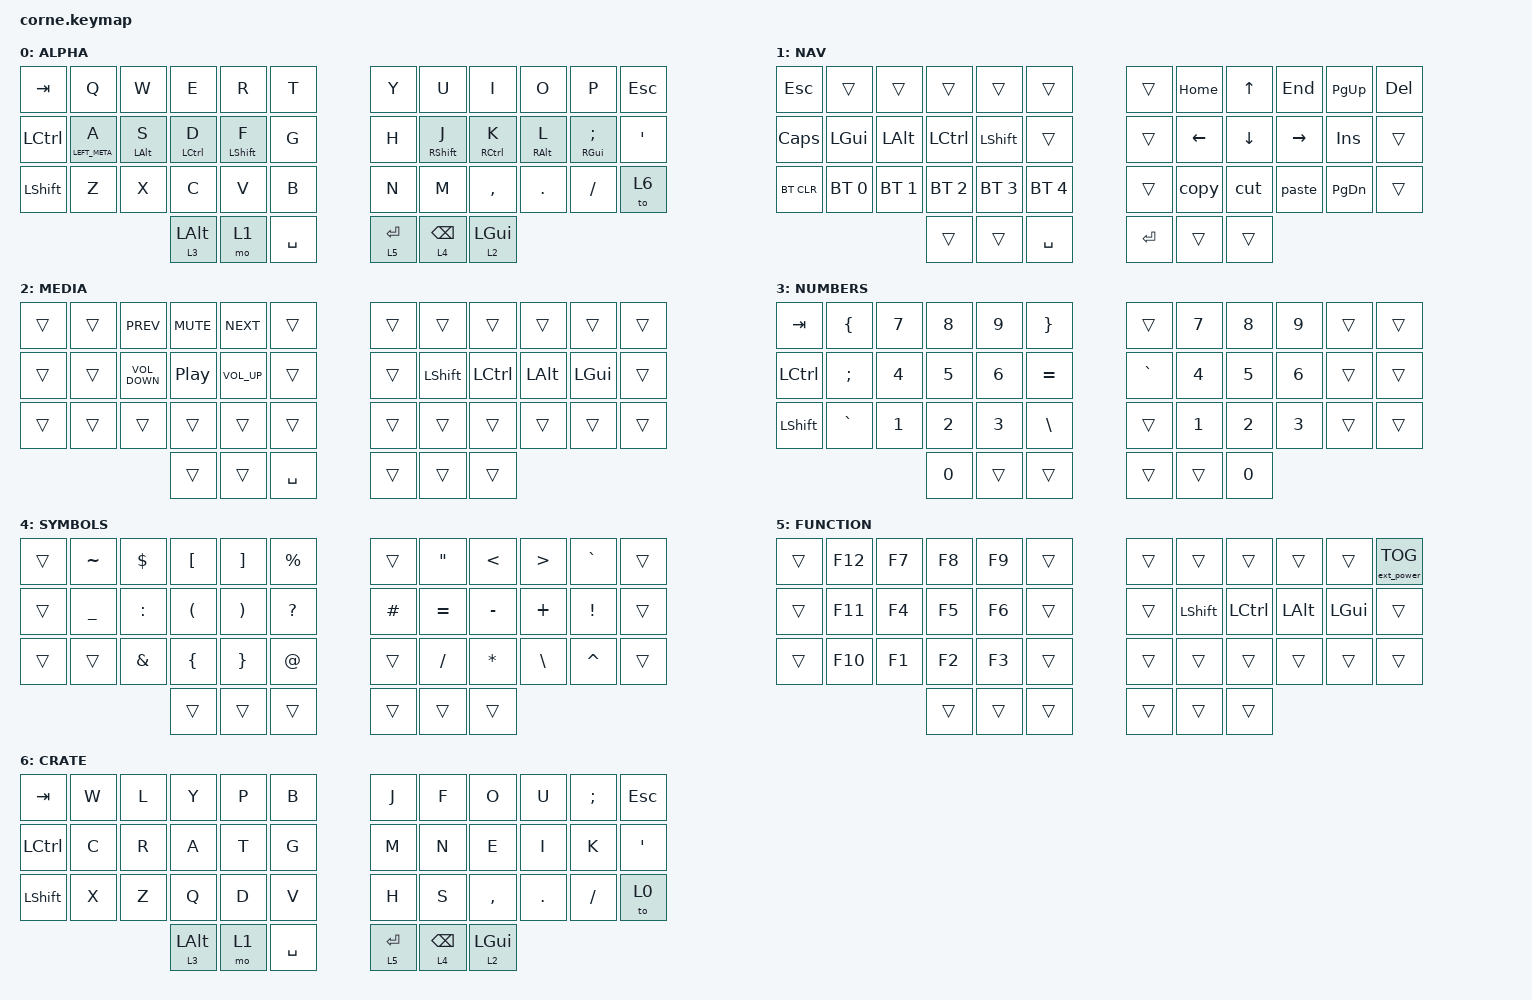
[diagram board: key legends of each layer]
/*
 * Copyright (c) 2020 The ZMK Contributors
 *
 * SPDX-License-Identifier: MIT
 */

#include <behaviors.dtsi>
#include <dt-bindings/zmk/bt.h>
#include <dt-bindings/zmk/ext_power.h>
#include <dt-bindings/zmk/keys.h>

/ {
    behaviors {
        hml: homerow_mods_left {
            compatible = "zmk,behavior-hold-tap";
            label = "HOMEROW_MODS_LEFT_HAND";
            bindings = <&kp>, <&kp>;

            #binding-cells = <2>;
            tapping-term-ms = <280>;
            hold-trigger-key-positions = <6 18 30 39 40 7 8 9 10 11 19 20 21 22 23 31 32 33 34 35 41>;
            quick-tap-ms = <175>;
            require-prior-idle-ms = <150>;
            flavor = "tap-preferred";
        };

        hmr: homerow_mods_right {
            compatible = "zmk,behavior-hold-tap";
            label = "HOMEROW_MODS_RIGHT_HAND";
            bindings = <&kp>, <&kp>;

            #binding-cells = <2>;
            tapping-term-ms = <280>;
            hold-trigger-key-positions = <0 1 2 3 4 5 12 13 14 15 16 17 24 25 26 27 28 29 36 37 38>;
            quick-tap-ms = <175>;
            require-prior-idle-ms = <150>;
            flavor = "tap-preferred";
        };
    };

    combos {
        compatible = "zmk,combos";

        Copy {
            bindings = <&kp LC(INSERT)>;
            key-positions = <3 2 4>;
            layers = <0 6>;
        };

        Paste {
            bindings = <&kp LS(INS)>;
            key-positions = <14 15 16>;
            layers = <0 6>;
        };

        Cut {
            bindings = <&kp LS(DELETE)>;
            key-positions = <26 28 27>;
            layers = <0 6>;
        };

        prog-parenthesis {
            bindings = <&par>;
            key-positions = <7 8>;
            layers = <0 6>;
        };

        prog-braces {
            bindings = <&brackets>;
            key-positions = <20 19>;
            layers = <0 6>;
        };

        prog-less {
            bindings = <&kp LT>;
            key-positions = <32 19>;
            layers = <0 6>;
        };

        prog-return {
            bindings = <&kp COLON>;
            key-positions = <19 21 20>;
            layers = <0 6>;
        };

        prog-equals {
            bindings = <&kp EQUAL>;
            key-positions = <7 8 9>;
            layers = <0 6>;
        };

        enie {
            bindings = <&kp RA(N)>;
            key-positions = <36 19>;
            layers = <0 6>;
        };

        enie-mac {
            bindings = <&enie_mac>;
            key-positions = <36 12 19>;
            layers = <0 6>;
        };

        huh {
            bindings = <&kp QUESTION>;
            key-positions = <14 15 4>;
        };

        chin {
            bindings = <&kp EXCLAMATION>;
            key-positions = <25 26 3>;
        };

        minus {
            bindings = <&kp MINUS>;
            key-positions = <19 18>;
        };

        under {
            bindings = <&kp UNDER>;
            key-positions = <31 30>;
        };

        prog-bracket {
            bindings = <&kp LBKT>;
            key-positions = <8 19>;
        };
    };

    macros {
        par: WIN_DESK_LEFT {
            compatible = "zmk,behavior-macro";
            #binding-cells = <0>;
            bindings = <&kp LEFT_PARENTHESIS &kp RIGHT_PARENTHESIS &kp LEFT>;
            label = "WIN_DESK_LEFT";
        };

        brackets: WIN_DESK_RIGHT {
            compatible = "zmk,behavior-macro";
            #binding-cells = <0>;
            bindings = <&kp LEFT_BRACE &kp RIGHT_BRACE &kp LEFT>;
            label = "WIN_DESK_RIGHT";
        };

        cut: cut {
            compatible = "zmk,behavior-macro";
            #binding-cells = <0>;
            bindings = <&kp LS(DEL)>;
            label = "CUT";
        };

        copy: copy {
            compatible = "zmk,behavior-macro";
            #binding-cells = <0>;
            bindings = <&kp LC(INS)>;
            label = "COPY";
        };

        paste: paste {
            compatible = "zmk,behavior-macro";
            #binding-cells = <0>;
            bindings = <&kp LS(INS)>;
            label = "PASTE";
        };

        enie_mac: enie_mac {
            compatible = "zmk,behavior-macro";
            #binding-cells = <0>;
            bindings = <&kp LA(N) &kp N &kp N>;
            label = "ENIE_MAC";
        };
    };

    keymap {
        compatible = "zmk,keymap";

        alpha {
            display-name = "ALPHA";

            // -----------------------------------------------------------------------------------------
            // |  TAB |  Q  |  W  |  E  |  R  |  T  |   |  Y  |  U   |  I  |  O  |  P  | BKSP |
            // | CTRL |  A  |  S  |  D  |  F  |  G  |   |  H  |  J   |  K  |  L  |  ;  |  '   |
            // | SHFT |  Z  |  X  |  C  |  V  |  B  |   |  N  |  M   |  ,  |  .  |  /  | ESC  |
            //                    | GUI | LWR | SPC |   | ENT | RSE  | ALT |

            bindings = <
&kp TAB    &kp Q             &kp W        &kp E                &kp R              &kp T        &kp Y        &kp U               &kp I                 &kp O             &kp P                     &kp ESCAPE
&kp LCTRL  &hml LEFT_META A  &hml LALT S  &hml LEFT_CONTROL D  &hml LEFT_SHIFT F  &kp G        &kp H        &hmr RIGHT_SHIFT J  &hmr RIGHT_CONTROL K  &hmr RIGHT_ALT L  &hmr RIGHT_GUI SEMICOLON  &kp SQT
&kp LSHFT  &kp Z             &kp X        &kp C                &kp V              &kp B        &kp N        &kp M               &kp COMMA             &kp DOT           &kp FSLH                  &to 6
                                          &lt 3 LEFT_ALT       &mo 1              &kp SPACE    &lt 5 ENTER  &lt 4 BACKSPACE     &lt 2 LEFT_GUI
            >;
        };

        nav {
            display-name = "NAV";

            // -----------------------------------------------------------------------------------------
            // |  TAB |  1  |  2  |  3  |  4  |  5  |   |  6  |  7  |  8  |  9  |  0  | BKSP |
            // | BTCLR| BT1 | BT2 | BT3 | BT4 | BT5 |   | LFT | DWN |  UP | RGT |     |      |
            // | SHFT |     |     |     |     |     |   |     |     |     |     |     |      |
            //                    | GUI |     | SPC |   | ENT |     | ALT |

            bindings = <
&kp ESCAPE  &trans        &trans        &trans        &trans          &trans          &trans   &kp HOME        &kp UP    &kp END    &kp PAGE_UP    &kp DELETE
&kp CAPS    &kp LEFT_GUI  &kp LEFT_ALT  &kp LCTRL     &kp LEFT_SHIFT  &trans          &trans   &kp LEFT_ARROW  &kp DOWN  &kp RIGHT  &kp INS        &trans
&bt BT_CLR  &bt BT_SEL 0  &bt BT_SEL 1  &bt BT_SEL 2  &bt BT_SEL 3    &bt BT_SEL 4    &trans   &copy           &cut      &paste     &kp PAGE_DOWN  &trans
                                        &trans        &trans          &kp SPACE       &kp RET  &trans          &trans
            >;
        };

        media {
            display-name = "MEDIA";

            // -----------------------------------------------------------------------------------------
            // |  TAB |  !  |  @  |  #  |  $  |  %  |   |  ^  |  &  |  *  |  (  |  )  | BKSP |
            // | CTRL |     |     |     |     |     |   |  -  |  =  |  [  |  ]  |  \  |  `   |
            // | SHFT |     |     |     |     |     |   |  _  |  +  |  {  |  }  | "|" |  ~   |
            //                    | GUI |     | SPC |   | ENT |     | ALT |

            bindings = <
&trans  &trans  &kp C_PREV         &kp C_MUTE        &kp C_NEXT       &trans       &trans  &trans          &trans            &trans        &trans        &trans
&trans  &trans  &kp C_VOLUME_DOWN  &kp C_PLAY_PAUSE  &kp C_VOLUME_UP  &trans       &trans  &kp LEFT_SHIFT  &kp LEFT_CONTROL  &kp LEFT_ALT  &kp LEFT_GUI  &trans
&trans  &trans  &trans             &trans            &trans           &trans       &trans  &trans          &trans            &trans        &trans        &trans
                                   &trans            &trans           &kp SPACE    &trans  &trans          &trans
            >;
        };

        num {
            display-name = "NUMBERS";
            bindings = <
&kp TAB    &kp LEFT_BRACE  &kp N7        &kp N8        &kp N9        &kp RIGHT_BRACE    &trans     &kp N7        &kp N8        &kp N9        &trans  &trans
&kp LCTRL  &kp SEMICOLON   &kp NUMBER_4  &kp N5        &kp NUMBER_6  &kp EQUAL          &kp GRAVE  &kp NUMBER_4  &kp N5        &kp NUMBER_6  &trans  &trans
&kp LSHFT  &kp GRAVE       &kp NUMBER_1  &kp NUMBER_2  &kp NUMBER_3  &kp BACKSLASH      &trans     &kp NUMBER_1  &kp NUMBER_2  &kp NUMBER_3  &trans  &trans
                                         &kp N0        &trans        &trans             &trans     &trans        &kp N0
            >;
        };

        sym {
            display-name = "SYMBOLS";
            bindings = <
&trans  &kp TILDE  &kp DOLLAR     &kp LEFT_BRACKET      &kp RIGHT_BRACKET      &kp PERCENT     &trans    &kp DOUBLE_QUOTES  &kp LESS_THAN  &kp GREATER_THAN  &kp GRAVE        &trans
&trans  &kp UNDER  &kp COLON      &kp LEFT_PARENTHESIS  &kp RIGHT_PARENTHESIS  &kp QUESTION    &kp HASH  &kp EQUAL          &kp MINUS      &kp PLUS          &kp EXCLAMATION  &trans
&trans  &trans     &kp AMPERSAND  &kp LEFT_BRACE        &kp RIGHT_BRACE        &kp AT_SIGN     &trans    &kp SLASH          &kp ASTERISK   &kp BACKSLASH     &kp CARET        &trans
                                  &trans                &trans                 &trans          &trans    &trans             &trans
            >;
        };

        fun {
            display-name = "FUNCTION";
            bindings = <
&trans  &kp F12  &kp F7  &kp F8  &kp F9  &trans    &trans  &trans          &trans     &trans        &trans        &ext_power EP_TOG
&trans  &kp F11  &kp F4  &kp F5  &kp F6  &trans    &trans  &kp LEFT_SHIFT  &kp LCTRL  &kp LEFT_ALT  &kp LEFT_GUI  &trans
&trans  &kp F10  &kp F1  &kp F2  &kp F3  &trans    &trans  &trans          &trans     &trans        &trans        &trans
                         &trans  &trans  &trans    &trans  &trans          &trans
            >;
        };

        crate {
            bindings = <
&kp TAB     &kp W  &kp L  &kp Y           &kp P  &kp B        &kp J        &kp F            &kp O           &kp U       &kp SEMICOLON  &kp ESCAPE
&kp LCTRL   &kp C  &kp R  &kp A           &kp T  &kp G        &kp M        &kp N            &kp E           &kp I       &kp K          &kp SQT
&kp LSHIFT  &kp X  &kp Z  &kp Q           &kp D  &kp V        &kp H        &kp S            &kp COMMA       &kp PERIOD  &kp SLASH      &to 0
                          &lt 3 LEFT_ALT  &mo 1  &kp SPACE    &lt 5 ENTER  &lt 4 BACKSPACE  &lt 2 LEFT_GUI
            >;

            label = "CRATE";
        };
    };
};
